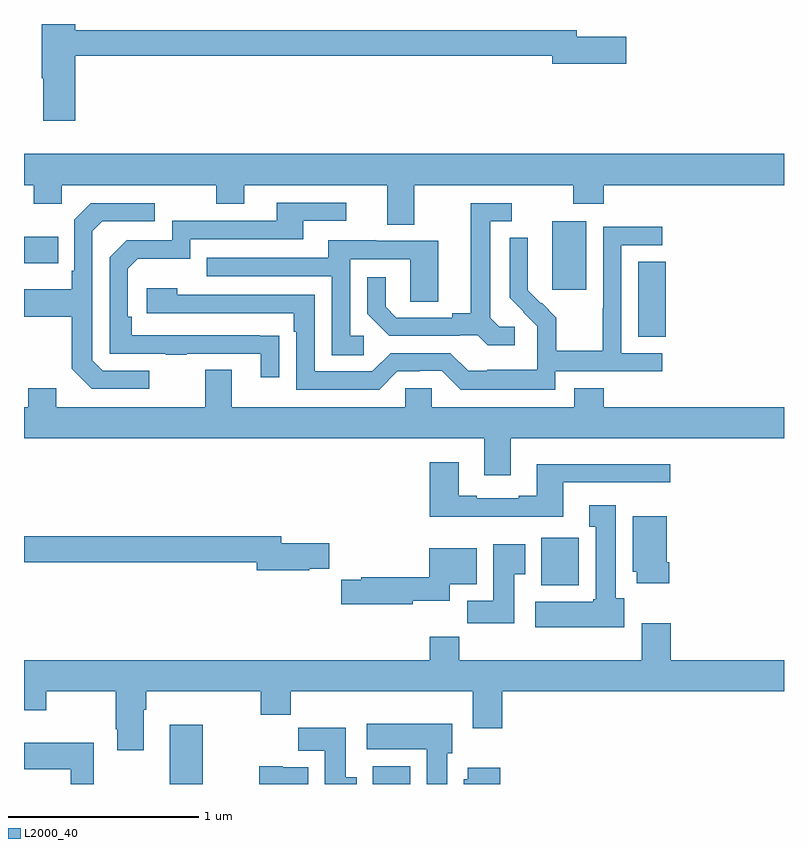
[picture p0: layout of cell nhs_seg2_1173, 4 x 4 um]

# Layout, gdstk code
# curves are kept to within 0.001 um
import gdstk
lib = gdstk.Library(unit=1e-6, precision=1e-09)
def R(c, l, rs):  # rectangles x0, y0, x1, y1
    for r in rs: c.add(gdstk.rectangle(r[:2], r[2:], *l))
def P(c, l, *ps):  # polygons
    for p in ps: c.add(gdstk.Polygon(p, *l))
L2000_40 = (2000, 40)

nhs_seg2_1173 = lib.new_cell('nhs_seg2_1173')
R(nhs_seg2_1173, L2000_40, [(171.767,661.8,171.94,662.113), (172.835,661.8,173.032,661.894), (173.723,662.846,173.919,663.097), (174.233,664.153,174.377,664.55), (173.78,664.401,173.959,664.762), (171,664.541,171.179,664.681)])
P(nhs_seg2_1173, L2000_40, [(171.269,665.632),(173.78,665.632),(173.78,665.59),(174.169,665.59),(174.169,665.732),(173.908,665.732),(173.908,665.768),(171.269,665.768),(171.269,665.8),(171.094,665.8),(171.094,665.515),(171.101,665.515),(171.101,665.292),(171.269,665.292)],
  [(173.053,664.952),(173.89,664.952),(173.89,664.853),(174.05,664.853),(174.05,664.952),(175,664.952),(175,665.116),(171,665.116),(171,664.952),(171.052,664.952),(171.052,664.853),(171.198,664.853),(171.198,664.952),(172.012,664.952),(172.012,664.853),(172.159,664.853),(172.159,664.952),(172.913,664.952),(172.913,664.744),(173.053,664.744)],
  [(172.343,664.16),(171.566,664.161),(171.566,664.258),(171.546,664.258),(171.546,664.512),(171.599,664.565),(171.876,664.565),(171.876,664.668),(172.471,664.668),(172.471,664.764),(172.696,664.764),(172.696,664.86),(172.331,664.86),(172.331,664.764),(171.78,664.764),(171.78,664.662),(171.54,664.662),(171.45,664.572),(171.45,664.065),(171.745,664.065),(171.745,664.06),(171.857,664.06),(171.857,664.065),(172.247,664.065),(172.247,663.942),(172.343,663.942)],
  [(171.658,663.975),(171.414,663.975),(171.36,664.029),(171.36,664.71),(171.411,664.761),(171.688,664.761),(171.688,664.857),(171.351,664.857),(171.264,664.77),(171.264,664.501),(171.252,664.501),(171.252,664.405),(171,664.405),(171,664.258),(171.252,664.258),(171.252,663.985),(171.357,663.879),(171.658,663.879)],
  [(173.584,664.206),(173.502,664.206),(173.455,664.253),(173.455,664.761),(173.566,664.761),(173.566,664.857),(173.351,664.857),(173.351,664.277),(173.255,664.277),(173.255,664.254),(172.96,664.254),(172.903,664.311),(172.903,664.468),(172.806,664.468),(172.806,664.274),(172.922,664.158),(173.294,664.158),(173.294,664.161),(173.388,664.161),(173.44,664.109),(173.584,664.109)],
  [(173.796,663.972),(174.358,663.972),(174.358,664.068),(174.144,664.068),(174.144,664.635),(174.358,664.635),(174.358,664.734),(174.048,664.734),(174.048,664.304),(174.046,664.304),(174.046,664.081),(173.801,664.081),(173.801,664.255),(173.724,664.332),(173.721,664.329),(173.651,664.4),(173.652,664.676),(173.556,664.676),(173.556,664.358),(173.702,664.21),(173.702,664.113),(173.7,664.113),(173.7,663.979),(173.437,663.979),(173.437,663.975),(173.337,663.975),(173.244,664.068),(172.929,664.068),(172.833,663.972),(172.53,663.972),(172.53,664.374),(171.806,664.374),(171.806,664.408),(171.645,664.408),(171.645,664.278),(172.421,664.278),(172.421,664.181),(172.434,664.181),(172.434,663.876),(172.869,663.876),(172.965,663.972),(173.084,663.972),(173.084,663.975),(173.199,663.975),(173.299,663.875),(173.796,663.875)],
  [(172.789,664.158),(172.716,664.158),(172.716,664.563),(173.034,664.563),(173.034,664.339),(173.179,664.339),(173.179,664.659),(172.855,664.659),(172.855,664.663),(172.601,664.663),(172.601,664.569),(171.961,664.569),(171.961,664.473),(172.62,664.473),(172.62,664.057),(172.789,664.057)],
  [(173.145,663.882),(173.007,663.882),(173.007,663.784),(172.093,663.784),(172.093,663.979),(171.953,663.979),(171.953,663.784),(171.169,663.784),(171.169,663.883),(171.022,663.883),(171.022,663.784),(171,663.784),(171,663.62),(173.423,663.62),(173.423,663.426),(173.563,663.426),(173.563,663.62),(175,663.62),(175,663.784),(174.05,663.784),(174.05,663.883),(173.897,663.883),(173.897,663.784),(173.145,663.784)],
  [(173.839,663.387),(174.4,663.387),(174.4,663.484),(173.699,663.484),(173.699,663.316),(173.603,663.316),(173.603,663.303),(173.383,663.303),(173.383,663.316),(173.287,663.316),(173.287,663.493),(173.135,663.493),(173.135,663.206),(173.839,663.206)],
  [(174.16,662.778),(174.115,662.778),(174.115,663.268),(173.975,663.268),(173.975,663.155),(174.008,663.155),(174.008,662.772),(173.995,662.772),(173.995,662.758),(173.691,662.758),(173.691,662.624),(174.16,662.624)],
  [(174.395,662.968),(174.382,662.968),(174.382,663.208),(174.203,663.208),(174.203,662.916),(174.224,662.916),(174.224,662.856),(174.395,662.856)],
  [(172.502,662.934),(172.607,662.934),(172.607,663.068),(172.354,663.068),(172.354,663.104),(171,663.104),(171,662.968),(172.226,662.968),(172.226,662.926),(172.502,662.926)],
  [(173.581,662.905),(173.638,662.905),(173.638,663.061),(173.471,663.061),(173.471,662.764),(173.332,662.764),(173.332,662.646),(173.581,662.646)],
  [(173.046,662.765),(173.242,662.765),(173.242,662.852),(173.383,662.852),(173.383,663.04),(173.132,663.04),(173.132,662.888),(172.774,662.888),(172.774,662.876),(172.669,662.876),(172.669,662.746),(173.046,662.746)],
  [(171.631,662.192),(171.644,662.192),(171.644,662.288),(172.247,662.288),(172.247,662.164),(172.403,662.164),(172.403,662.288),(173.363,662.288),(173.363,662.094),(173.516,662.094),(173.516,662.288),(175,662.288),(175,662.452),(174.404,662.452),(174.404,662.647),(174.251,662.647),(174.251,662.452),(173.291,662.452),(173.291,662.576),(173.135,662.576),(173.135,662.452),(171,662.452),(171,662.189),(171.117,662.189),(171.117,662.288),(171.484,662.288),(171.484,662.089),(171.491,662.089),(171.491,661.977),(171.631,661.977)],
  [(173.227,661.962),(173.254,661.962),(173.254,662.116),(172.803,662.116),(172.803,661.982),(173.12,661.982),(173.12,661.8),(173.227,661.8)],
  [(172.75,661.836),(172.693,661.836),(172.693,662.095),(172.444,662.095),(172.444,661.976),(172.583,661.976),(172.583,661.8),(172.75,661.8)],
  [(171.367,662.017),(171,662.017),(171,661.877),(171.246,661.877),(171.246,661.8),(171.367,661.8)],
  [(172.495,661.888),(172.362,661.888),(172.362,661.894),(172.237,661.894),(172.237,661.8),(172.495,661.8)],
  [(173.507,661.885),(173.336,661.885),(173.336,661.824),(173.315,661.824),(173.315,661.8),(173.507,661.8)])

lib.write_gds('nhs_seg2_1173.gds')
